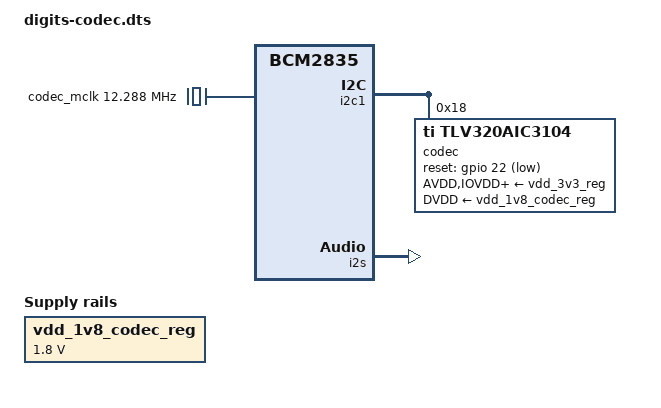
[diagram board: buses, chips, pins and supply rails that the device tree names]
/dts-v1/;
/plugin/;

/ {
    compatible = "brcm,bcm2835";

    /*
     * U7 (XC6206P182MR) is a fixed 1.8 V LDO that produces the codec's DVDD
     * rail. It has no software control, so model it as a fixed-regulator the
     * codec driver can read voltage from.
     */
    fragment@0 {
        target-path = "/";
        __overlay__ {
            vdd_1v8_codec_reg: vdd-1v8-codec {
                compatible = "regulator-fixed";
                regulator-name = "vdd-1v8-codec";
                regulator-min-microvolt = <1800000>;
                regulator-max-microvolt = <1800000>;
                regulator-always-on;
            };
        };
    };

    /*
     * Fixed-clock node representing the 12.288 MHz MCLK supplied to the codec.
     * Pi GPIO4 sources GPCLK0 to U6 pin 1 (MCLK) per the V2 schematic. The
     * actual clock generator is enabled by the audremap fragment below.
     */
    fragment@1 {
        target-path = "/";
        __overlay__ {
            codec_mclk: codec-mclk {
                compatible = "fixed-clock";
                #clock-cells = <0>;
                clock-frequency = <12288000>;
                clock-output-names = "codec-mclk";
            };
        };
    };

    /* Enable I2C1 for codec control */
    fragment@2 {
        target = <&i2c1>;
        __overlay__ {
            status = "okay";
            #address-cells = <1>;
            #size-cells = <0>;

            codec: tlv320aic3104@18 {
                compatible = "ti,tlv320aic3104";
                reg = <0x18>;
                #sound-dai-cells = <0>;
                AVDD-supply = <&vdd_3v3_reg>;
                IOVDD-supply = <&vdd_3v3_reg>;
                DRVDD-supply = <&vdd_3v3_reg>;
                DVDD-supply = <&vdd_1v8_codec_reg>;
                clocks = <&codec_mclk>;
                clock-names = "mclk";

                /* CODEC_RESET on Pi GP22 (active-low). Without this the
                 * driver never asserts a clean POR and the chip can latch
                 * indeterminate analog-front-end state at first boot. */
                reset-gpios = <&gpio 22 1>;

                /* MICBIAS level: 3 = AVDD (~3.3 V on the V2 carrier). The
                 * driver writes R25 bits[7:6] from this; without the
                 * property MICBIAS stays powered down and the electret
                 * never sees bias. Capture path is dead-silent without
                 * this even when machine routing is correct. */
                ai3x-micbias-vg = <3>;
            };
        };
    };

    /* Enable I2S */
    fragment@3 {
        target = <&i2s>;
        __overlay__ {
            status = "okay";
        };
    };

    /* Sound card using simple-audio-card */
    fragment@4 {
        target-path = "/";
        __overlay__ {
            digits_sound: digits-sound {
                compatible = "simple-audio-card";
                simple-audio-card,name = "digitscodec";
                simple-audio-card,format = "i2s";
                simple-audio-card,bitclock-master = <&dailink_cpu>;
                simple-audio-card,frame-master = <&dailink_cpu>;
                status = "okay";

                /* External widgets connected to the codec's input/output
                 * pins. simple-audio-card needs these declared so DAPM
                 * builds a complete graph through the codec; without the
                 * routing block below DAPM power-gates the entire input
                 * chain (Mic Bias supply, LINE1L pin, Left PGA Mixer,
                 * Left ADC) and arecord captures only chip self-noise. */
                simple-audio-card,widgets =
                    "Microphone", "Handset Mic",
                    "Speaker",    "Earpiece";

                /* Routing format is {sink, source}. The kernel driver knows
                 * the codec datasheet's MIC1LP pin as LINE1L (and MIC1RP as
                 * LINE1R). On V2 the handset mic AC-couples into MIC1LP
                 * single-ended, so only the Left side is wired. */
                simple-audio-card,routing =
                    "LINE1L",      "Handset Mic",
                    "Handset Mic", "Mic Bias",
                    "Earpiece",    "HPLOUT",
                    "Earpiece",    "HPLCOM";

                dailink_cpu: simple-audio-card,cpu {
                    sound-dai = <&i2s>;
                };

                simple-audio-card,codec {
                    sound-dai = <&codec>;
                    system-clock-frequency = <12288000>;
                };
            };
        };
    };
};
